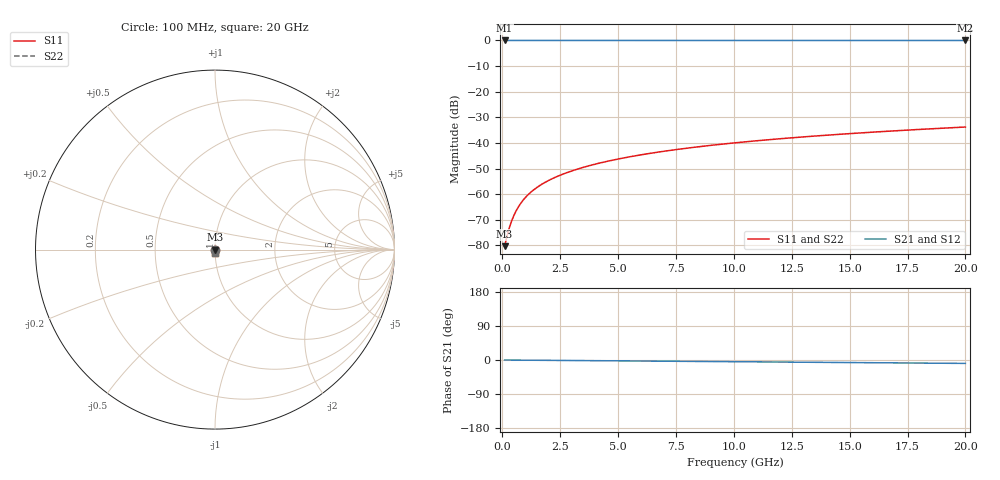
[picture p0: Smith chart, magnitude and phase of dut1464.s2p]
! Touchstone file exported from HFSS 2026.1.0
!  File:  C:/ffzhzh/LocalFiles/Ansys_Project_Files/temp_train_TSV_1464_1783198153_18472.aedt
!  Generated:  04:50:38 AM Jul  5, 2026
!  Design:  TSV
!  Project:  temp_train_TSV_1464_1783198153_18472
! Variables:
!  h_bsmrdl = 2um
!  h_ox = 20um
!  h_rdl = 5um
!  h_sub = 89.84um
!  h_tmrdl = 5um
!  h_tsv = 89.84um
!  h_via = 3um
!  l_bsmrdl = 300um
!  l_sub = 429.76um
!  l_tmrdl = 200um
!  m_sub = 200um
!  pitch = 52.32um
!  r_tsv = 14.88um
!  s_tmrdl = 10um
!  w_bsmrdl = 18um
!  w_sub = 500um
!  w_tmrdl = 12um
!  x_tsv_center1 = 206um
!  x_tsv_center2 = 524um
!  x_tsv_center3 = 736um
!  x_tsv_center4 = 1054um
!  x_tsv_center5 = 1266um
!  x_tsv_center6 = 1584um
# GHz S MA R 50.000000
! Terminal data exported
! Port[1] = TSV1_1_T1
! Port[2] = TSV1_1_T2
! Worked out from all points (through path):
!   200 points, 100 MHz to 20 GHz, reference 50 ohm
!   highest |S21| = 0.00 dB at 100 MHz (marker M1); lowest = 0.0 dB at 20 GHz (marker M2)
!   group delay of S21, straight-line fit = 1.24 ps
!   lowest |S11| = -80.3 dB at 100 MHz (marker M3), VSWR 1.00, Z = 50 - j0.00563 ohm
!   |S11| at or under -10 dB: start of sweep to end of sweep
!   |S22| runs from -80.3 to -33.8 dB; largest |S21 - S12| = 3.3e-15
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0.1  9.696e-05 -35.5  0.9999 -0.0  0.9999 -0.0  9.696e-05 -35.5
! Gamma 0 0 0 0
! Port Impedance 50 0 50 0
0.2  0.0001507 -51.1  0.9999 -0.1  0.9999 -0.1  0.0001507 -51.1
0.3  0.0002195 -57.7  0.9999 -0.1  0.9999 -0.1  0.0002195 -57.7
0.4  0.0002986 -61.5  0.9999 -0.2  0.9999 -0.2  0.0002986 -61.5
0.5  0.0003851 -64.1  0.9998 -0.2  0.9998 -0.2  0.0003851 -64.1
0.6  0.0004766 -66.3  0.9998 -0.3  0.9998 -0.3  0.0004766 -66.3
0.8  0.0006682 -69.8  0.9998 -0.4  0.9998 -0.4  0.0006682 -69.8
1.1  0.0009639 -73.6  0.9997 -0.5  0.9997 -0.5  0.0009639 -73.6
1.3  0.001162 -75.5  0.9997 -0.6  0.9997 -0.6  0.001162 -75.5
1.5  0.001361 -77.1  0.9997 -0.7  0.9997 -0.7  0.001361 -77.1
1.8  0.001658 -78.8  0.9997 -0.8  0.9997 -0.8  0.001658 -78.8
2.1  0.001955 -80.2  0.9996 -1.0  0.9996 -1.0  0.001955 -80.2
2.7  0.002549 -82.1  0.9996 -1.2  0.9996 -1.2  0.002549 -82.1
3.5  0.003347 -83.8  0.9995 -1.6  0.9995 -1.6  0.003347 -83.8
4.2  0.004051 -84.9  0.9995 -1.9  0.9995 -1.9  0.004051 -84.9
5  0.004861 -85.9  0.9994 -2.3  0.9994 -2.3  0.004861 -85.9
6.8  0.006704 -87.6  0.9993 -3.1  0.9993 -3.1  0.006704 -87.6
8.3  0.008253 -88.8  0.9993 -3.7  0.9993 -3.7  0.008253 -88.8
10.1  0.01012 -90.1  0.9992 -4.5  0.9992 -4.5  0.01012 -90.2
13.4  0.01355 -92.3  0.999 -6.0  0.999 -6.0  0.01355 -92.3
16.7  0.017 -94.2  0.9989 -7.5  0.9989 -7.5  0.017 -94.2
20  0.02047 -95.9  0.9987 -9.0  0.9987 -9.0  0.02047 -95.9
